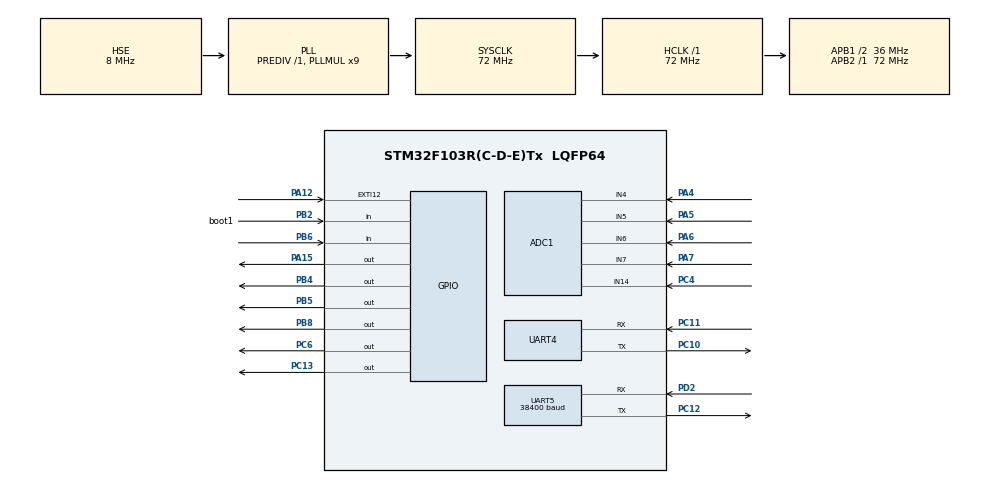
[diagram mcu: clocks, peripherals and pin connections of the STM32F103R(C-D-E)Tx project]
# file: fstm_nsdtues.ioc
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ADC1.Channel-0\#ChannelRegularConversion=ADC_CHANNEL_4
ADC1.Channel-2\#ChannelRegularConversion=ADC_CHANNEL_5
ADC1.Channel-3\#ChannelRegularConversion=ADC_CHANNEL_6
ADC1.Channel-4\#ChannelRegularConversion=ADC_CHANNEL_7
ADC1.Channel-5\#ChannelRegularConversion=ADC_CHANNEL_14
ADC1.Channel-6\#ChannelRegularConversion=ADC_CHANNEL_4
ADC1.ContinuousConvMode=ENABLE
ADC1.DataAlign=ADC_DATAALIGN_RIGHT
ADC1.DiscontinuousConvMode=DISABLE
ADC1.EnableAnalogWatchDog=false
ADC1.EnableRegularConversion=ENABLE
ADC1.ExternalTrigConvEdgeChoice=NONE
ADC1.InjNumberOfConversion=0
ADC1.NbrOfConversion=5
ADC1.NbrOfConversionFlag=1
ADC1.Rank-0\#ChannelRegularConversion=1
ADC1.Rank-2\#ChannelRegularConversion=2
ADC1.Rank-3\#ChannelRegularConversion=3
ADC1.Rank-4\#ChannelRegularConversion=4
ADC1.Rank-5\#ChannelRegularConversion=5
ADC1.Rank-6\#ChannelRegularConversion=1
ADC1.SamplingTime-0\#ChannelRegularConversion=ADC_SAMPLETIME_55CYCLES_5
ADC1.SamplingTime-2\#ChannelRegularConversion=ADC_SAMPLETIME_55CYCLES_5
ADC1.SamplingTime-3\#ChannelRegularConversion=ADC_SAMPLETIME_55CYCLES_5
ADC1.SamplingTime-4\#ChannelRegularConversion=ADC_SAMPLETIME_55CYCLES_5
ADC1.SamplingTime-5\#ChannelRegularConversion=ADC_SAMPLETIME_55CYCLES_5
ADC1.SamplingTime-6\#ChannelRegularConversion=ADC_SAMPLETIME_1CYCLE_5
ADC1.ScanConvMode=ADC_SCAN_ENABLE
ADC1.master=1
Dma.ADC1.0.Direction=DMA_PERIPH_TO_MEMORY
Dma.ADC1.0.Instance=DMA1_Channel1
Dma.ADC1.0.MemDataAlignment=DMA_MDATAALIGN_WORD
Dma.ADC1.0.MemInc=DMA_MINC_ENABLE
Dma.ADC1.0.Mode=DMA_CIRCULAR
Dma.ADC1.0.PeriphDataAlignment=DMA_PDATAALIGN_WORD
Dma.ADC1.0.PeriphInc=DMA_PINC_DISABLE
Dma.ADC1.0.Priority=DMA_PRIORITY_HIGH
Dma.Request0=ADC1
Mcu.Family=STM32F1
Mcu.Name=STM32F103R(C-D-E)Tx
Mcu.Package=LQFP64
NVIC.DMA1_Channel1_IRQn=true\:0\:0\:false\:false\:true
NVIC.EXTI15_10_IRQn=true\:0\:0\:false\:false\:true
NVIC.PriorityGroup=NVIC_PRIORITYGROUP_4
NVIC.TIM7_IRQn=true\:10\:0\:true\:false\:true
NVIC.UART4_IRQn=true\:0\:0\:false\:false\:true
NVIC.UART5_IRQn=true\:2\:0\:true\:false\:true
PA12.GPIO_ModeDefaultEXTI=GPIO_MODE_IT_RISING_FALLING
PA12.Signal=GPXTI12
PA13.Mode=Trace_Asynchronous_SW
PA13.Signal=SYS_JTMS-SWDIO
PA14.Mode=Trace_Asynchronous_SW
PA14.Signal=SYS_JTCK-SWCLK
PA15.Signal=GPIO_Output
PA4.Signal=ADCx_IN4
PA5.Signal=ADCx_IN5
PA6.Signal=ADCx_IN6
PA7.Signal=ADCx_IN7
PB2.GPIO_Label=boot1
PB2.Signal=GPIO_Input
PB3.Mode=Trace_Asynchronous_SW
PB3.Signal=SYS_JTDO-TRACESWO
PB4.Signal=GPIO_Output
PB5.Signal=GPIO_Output
PB6.Signal=GPIO_Input
PB8.Signal=GPIO_Output
PC10.Mode=Asynchronous
PC10.Signal=UART4_TX
PC11.Mode=Asynchronous
PC11.Signal=UART4_RX
PC12.Mode=Asynchronous
PC12.Signal=UART5_TX
PC13-TAMPER-RTC.Signal=GPIO_Output
PC4.Signal=ADCx_IN14
PC6.Signal=GPIO_Output
PD0-OSC_IN.Mode=HSE-External-Oscillator
PD0-OSC_IN.Signal=RCC_OSC_IN
PD1-OSC_OUT.Mode=HSE-External-Oscillator
PD1-OSC_OUT.Signal=RCC_OSC_OUT
PD2.Mode=Asynchronous
PD2.Signal=UART5_RX
ProjectManager.HeapSize=0x200
ProjectManager.StackSize=0x400
ProjectManager.TargetToolchain=MDK-ARM V5
RCC.ADCPresc=RCC_ADCPCLK2_DIV6
RCC.AHBFreq_Value=72000000
RCC.APB1CLKDivider=RCC_HCLK_DIV2
RCC.APB1Freq_Value=36000000
RCC.APB1TimFreq_Value=72000000
RCC.APB2Freq_Value=72000000
RCC.APB2TimFreq_Value=72000000
RCC.HCLKFreq_Value=72000000
RCC.PLLMUL=RCC_PLL_MUL9
RCC.PLLSourceVirtual=RCC_PLLSOURCE_HSE
RCC.SYSCLKFreq_VALUE=72000000
RCC.SYSCLKSource=RCC_SYSCLKSOURCE_PLLCLK
RCC.USBFreq_Value=72000000
SH.ADCx_IN14.0=ADC1_IN14,IN14
SH.ADCx_IN4.0=ADC1_IN4,IN4
SH.ADCx_IN5.0=ADC1_IN5,IN5
SH.ADCx_IN6.0=ADC1_IN6,IN6
SH.ADCx_IN7.0=ADC1_IN7,IN7
TIM2.Period=0xFFFF
TIM2.TIM_MasterSlaveMode=TIM_MASTERSLAVEMODE_ENABLE
TIM3.Period=0xFFFF
TIM3.Prescaler=71
TIM3.TIM_MasterOutputTrigger=TIM_TRGO_UPDATE
TIM7.Period=999
TIM7.Prescaler=71
TIM7.TIM_MasterOutputTrigger=TIM_TRGO_UPDATE
UART4.VirtualMode=Asynchronous
UART5.BaudRate=38400
UART5.VirtualMode=Asynchronous
VP_TIM2_VS_ClockSourceITR.Mode=TriggerSource_ITR2
VP_TIM2_VS_ControllerModeClock.Mode=Clock Mode
VP_TIM3_VS_ClockSourceITR.Mode=TriggerSource_ITR2
VP_TIM3_VS_ControllerModeReset.Mode=Reset Mode
VP_TIM7_VS_ClockSourceINT.Mode=Enable_Timer
board=fstm_nsdtues

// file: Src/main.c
/**
  ******************************************************************************
  * File Name          : main.c
  * Description        : Main program body
  ******************************************************************************
  *
  * COPYRIGHT(c) 2017 STMicroelectronics
  *
  * Redistribution and use in source and binary forms, with or without modification,
  * are permitted provided that the following conditions are met:
  *   1. Redistributions of source code must retain the above copyright notice,
  *      this list of conditions and the following disclaimer.
  *   2. Redistributions in binary form must reproduce the above copyright notice,
  *      this list of conditions and the following disclaimer in the documentation
  *      and/or other materials provided with the distribution.
  *   3. Neither the name of STMicroelectronics nor the names of its contributors
  *      may be used to endorse or promote products derived from this software
  *      without specific prior written permission.
  *
  * THIS SOFTWARE IS PROVIDED BY THE COPYRIGHT HOLDERS AND CONTRIBUTORS "AS IS"
  * AND ANY EXPRESS OR IMPLIED WARRANTIES, INCLUDING, BUT NOT LIMITED TO, THE
  * IMPLIED WARRANTIES OF MERCHANTABILITY AND FITNESS FOR A PARTICULAR PURPOSE ARE
  * DISCLAIMED. IN NO EVENT SHALL THE COPYRIGHT HOLDER OR CONTRIBUTORS BE LIABLE
  * FOR ANY DIRECT, INDIRECT, INCIDENTAL, SPECIAL, EXEMPLARY, OR CONSEQUENTIAL
  * DAMAGES (INCLUDING, BUT NOT LIMITED TO, PROCUREMENT OF SUBSTITUTE GOODS OR
  * SERVICES; LOSS OF USE, DATA, OR PROFITS; OR BUSINESS INTERRUPTION) HOWEVER
  * CAUSED AND ON ANY THEORY OF LIABILITY, WHETHER IN CONTRACT, STRICT LIABILITY,
  * OR TORT (INCLUDING NEGLIGENCE OR OTHERWISE) ARISING IN ANY WAY OUT OF THE USE
  * OF THIS SOFTWARE, EVEN IF ADVISED OF THE POSSIBILITY OF SUCH DAMAGE.
  *
  ******************************************************************************
  */
#include "stm32f1xx_hal.h"

/* USER CODE BEGIN Includes */
#include "cmsis_os.h" // ARM::CMSIS:RTOS:Keil RTX
#include <stdio.h>
#include <string.h>
#include <stdlib.h>
#include "uart-API.h"
#include "uart-line-IO.h"
#include "thread_of_LCM_uart.h"
#include "thread_of_hc05.h"
#include "thread_of_accelnet.h"
#include "HC05.h"

/* USER CODE END Includes */

ADC_HandleTypeDef hadc1;
DMA_HandleTypeDef hdma_adc1;

TIM_HandleTypeDef htim2;
TIM_HandleTypeDef htim3;
TIM_HandleTypeDef htim7;

UART_HandleTypeDef huart4;
UART_HandleTypeDef huart5;

/* USER CODE BEGIN PV */
/* Private variables ---------------------------------------------------------*/
//__IO float ADC_ConvertedValueLocal[5];
//uint32_t ADC_ConvertedValue[5];
uint32_t DMA_Transfer_Complete_Count=0;
extern uint32_t ADC_ConvertedValue[5];
/* USER CODE END PV */

void SystemClock_Config(void);
static void MX_GPIO_Init(void);
static void MX_DMA_Init(void);
static void MX_UART5_Init(void);
static void MX_TIM2_Init(void);
static void MX_TIM3_Init(void);
static void MX_TIM7_Init(void);
static void SystemClock_Config(void);
static void MX_ADC1_Init(void);
static void MX_UART4_Init(void);

/* USER CODE BEGIN PFP */

//osMailQDef(uart_recv_queue, 5, struct uart_recv_result_t);
//static osMailQId mail_queue_id_for_uart_recv;
/* Private function prototypes -----------------------------------------------*/

/* USER CODE END PFP */

/* USER CODE BEGIN 0 */
extern uint32_t os_time;
uint32_t HAL_GetTick(void) {
	// Add HAL_GetTick function for STM32Cube HAL

return os_time;
}
/* USER CODE END 0 */

int main(void)
{

  /* USER CODE BEGIN 1 */
	osKernelInitialize ();               // Initialize RTOS Kernel for setup
	InitUartIo();

  /* USER CODE END 1 */

  /* MCU Configuration----------------------------------------------------------*/

  /* Reset of all peripherals, Initializes the Flash interface and the Systick. */
  HAL_Init();

  /* Configure the system clock */
  SystemClock_Config();

  /* Initialize all configured peripherals */
  MX_GPIO_Init();
  MX_DMA_Init();
  MX_UART5_Init();
  MX_TIM2_Init();
  MX_TIM3_Init();
  MX_TIM7_Init();
  SystemClock_Config();
  MX_ADC1_Init();
  MX_UART4_Init();

  /* USER CODE BEGIN 2 */
//	init_thread_of_LCM_uart ();
	init_thread_of_hc05 ();
	init_thread_of_accelnet();
	init_thread_of_stopmode();
	osKernelStart ();                    // Begin thread switching
	//	HAL_GPIO_WritePin(GPIOB,GPIO_PIN_5,GPIO_PIN_RESET);
	//HAL_GPIO_WritePin(GPIOC,GPIO_PIN_1,GPIO_PIN_RESET);

	HAL_TIM_Base_Start(&htim2);
	HAL_TIM_Base_Start(&htim3);
	HAL_ADCEx_Calibration_Start(&hadc1);
	HAL_ADC_Start_DMA(&hadc1,ADC_ConvertedValue,5);
	HAL_TIM_Base_Start_IT(&htim7);
  /* USER CODE END 2 */

  /* Infinite loop */
  /* USER CODE BEGIN WHILE */

  while (1)
  {
		HAL_GPIO_WritePin(GPIOB,GPIO_PIN_8,GPIO_PIN_SET);
  /* USER CODE END WHILE */

  /* USER CODE BEGIN 3 */
//	ADC_ConvertedValueLocal[0] =(float)(ADC_ConvertedValue[0]&0xFFF)*3.3/4096; // ADC_ConvertedValue[0]只取最低12有效数据
//	ADC_ConvertedValueLocal[1] =(float)(ADC_ConvertedValue[1]&0xFFF)*3.3/4096; // ADC_ConvertedValue[1]只取最低12有效数据
//  ADC_ConvertedValueLocal[2] =(float)(ADC_ConvertedValue[2]&0xFFF)*3.3/4096; // ADC_ConvertedValue[2]只取最低12有效数据
//  ADC_ConvertedValueLocal[3] =(float)(ADC_ConvertedValue[3]&0xFFF)*3.3/4096; // ADC_ConvertedValue[3]只取最低12有效数据
//	ADC_ConvertedValueLocal[4] =(float)(ADC_ConvertedValue[4]&0xFFF)*3.3/4096; // ADC_ConvertedValue[4]只取最低12有效数据
		osDelay(1000);

//		HAL_GPIO_TogglePin(GPIOA,GPIO_PIN_15);
//		HAL_ADC_Start_DMA(&hadc1,ADC_ConvertedValue,5);
  }
  /* USER CODE END 3 */

}

/** System Clock Configuration
*/
void SystemClock_Config(void)
{

  RCC_OscInitTypeDef RCC_OscInitStruct;
  RCC_ClkInitTypeDef RCC_ClkInitStruct;
  RCC_PeriphCLKInitTypeDef PeriphClkInit;

  RCC_OscInitStruct.OscillatorType = RCC_OSCILLATORTYPE_HSE;
  RCC_OscInitStruct.HSEState = RCC_HSE_ON;
  RCC_OscInitStruct.HSEPredivValue = RCC_HSE_PREDIV_DIV1;
  RCC_OscInitStruct.HSIState = RCC_HSI_ON;
  RCC_OscInitStruct.PLL.PLLState = RCC_PLL_ON;
  RCC_OscInitStruct.PLL.PLLSource = RCC_PLLSOURCE_HSE;
  RCC_OscInitStruct.PLL.PLLMUL = RCC_PLL_MUL9;
  HAL_RCC_OscConfig(&RCC_OscInitStruct);

  RCC_ClkInitStruct.ClockType = RCC_CLOCKTYPE_HCLK|RCC_CLOCKTYPE_SYSCLK
                              |RCC_CLOCKTYPE_PCLK1|RCC_CLOCKTYPE_PCLK2;
  RCC_ClkInitStruct.SYSCLKSource = RCC_SYSCLKSOURCE_PLLCLK;
  RCC_ClkInitStruct.AHBCLKDivider = RCC_SYSCLK_DIV1;
  RCC_ClkInitStruct.APB1CLKDivider = RCC_HCLK_DIV2;
  RCC_ClkInitStruct.APB2CLKDivider = RCC_HCLK_DIV1;
  HAL_RCC_ClockConfig(&RCC_ClkInitStruct, FLASH_LATENCY_2);

  PeriphClkInit.PeriphClockSelection = RCC_PERIPHCLK_ADC;
  PeriphClkInit.AdcClockSelection = RCC_ADCPCLK2_DIV6;
  HAL_RCCEx_PeriphCLKConfig(&PeriphClkInit);

  HAL_SYSTICK_Config(HAL_RCC_GetHCLKFreq()/1000);

  HAL_SYSTICK_CLKSourceConfig(SYSTICK_CLKSOURCE_HCLK);

  /* SysTick_IRQn interrupt configuration */
  HAL_NVIC_SetPriority(SysTick_IRQn, 0, 0);
}

/* ADC1 init function */
void MX_ADC1_Init(void)
{

  ADC_ChannelConfTypeDef sConfig;

    /**Common config
    */
  hadc1.Instance = ADC1;
  hadc1.Init.ScanConvMode = ADC_SCAN_ENABLE;
  hadc1.Init.ContinuousConvMode = ENABLE;
  hadc1.Init.DiscontinuousConvMode = DISABLE;
  hadc1.Init.ExternalTrigConv = ADC_SOFTWARE_START;
  hadc1.Init.DataAlign = ADC_DATAALIGN_RIGHT;
  hadc1.Init.NbrOfConversion = 5;
  HAL_ADC_Init(&hadc1);

    /**Configure Regular Channel
    */
  sConfig.Channel = ADC_CHANNEL_4;
  sConfig.Rank = 1;
  sConfig.SamplingTime = ADC_SAMPLETIME_1CYCLE_5;
  HAL_ADC_ConfigChannel(&hadc1, &sConfig);

    /**Configure Regular Channel
    */
  sConfig.SamplingTime = ADC_SAMPLETIME_55CYCLES_5;
  HAL_ADC_ConfigChannel(&hadc1, &sConfig);

    /**Configure Regular Channel
    */
  sConfig.Channel = ADC_CHANNEL_5;
  sConfig.Rank = 2;
  HAL_ADC_ConfigChannel(&hadc1, &sConfig);

    /**Configure Regular Channel
    */
  sConfig.Channel = ADC_CHANNEL_6;
  sConfig.Rank = 3;
  HAL_ADC_ConfigChannel(&hadc1, &sConfig);

    /**Configure Regular Channel
    */
  sConfig.Channel = ADC_CHANNEL_7;
  sConfig.Rank = 4;
  HAL_ADC_ConfigChannel(&hadc1, &sConfig);

    /**Configure Regular Channel
    */
  sConfig.Channel = ADC_CHANNEL_14;
  sConfig.Rank = 5;
  HAL_ADC_ConfigChannel(&hadc1, &sConfig);

}

/* TIM2 init function */
void MX_TIM2_Init(void)
{

  TIM_SlaveConfigTypeDef sSlaveConfig;
  TIM_MasterConfigTypeDef sMasterConfig;

  htim2.Instance = TIM2;
  htim2.Init.Prescaler = 0;
  htim2.Init.CounterMode = TIM_COUNTERMODE_UP;
  htim2.Init.Period = 0xFFFF;
  htim2.Init.ClockDivision = TIM_CLOCKDIVISION_DIV1;
  HAL_TIM_Base_Init(&htim2);

  sSlaveConfig.SlaveMode = TIM_SLAVEMODE_EXTERNAL1;
  sSlaveConfig.InputTrigger = TIM_TS_ITR2;
  HAL_TIM_SlaveConfigSynchronization(&htim2, &sSlaveConfig);

  sMasterConfig.MasterOutputTrigger = TIM_TRGO_RESET;
  sMasterConfig.MasterSlaveMode = TIM_MASTERSLAVEMODE_ENABLE;
  HAL_TIMEx_MasterConfigSynchronization(&htim2, &sMasterConfig);

}

/* TIM3 init function */
void MX_TIM3_Init(void)
{

  TIM_SlaveConfigTypeDef sSlaveConfig;
  TIM_MasterConfigTypeDef sMasterConfig;

  htim3.Instance = TIM3;
  htim3.Init.Prescaler = 71;
  htim3.Init.CounterMode = TIM_COUNTERMODE_UP;
  htim3.Init.Period = 0xFFFF;
  htim3.Init.ClockDivision = TIM_CLOCKDIVISION_DIV1;
  HAL_TIM_Base_Init(&htim3);

  sSlaveConfig.SlaveMode = TIM_SLAVEMODE_RESET;
  sSlaveConfig.InputTrigger = TIM_TS_ITR2;
  HAL_TIM_SlaveConfigSynchronization(&htim3, &sSlaveConfig);

  sMasterConfig.MasterOutputTrigger = TIM_TRGO_UPDATE;
  sMasterConfig.MasterSlaveMode = TIM_MASTERSLAVEMODE_DISABLE;
  HAL_TIMEx_MasterConfigSynchronization(&htim3, &sMasterConfig);

}

/* TIM7 init function */
void MX_TIM7_Init(void)
{

  TIM_MasterConfigTypeDef sMasterConfig;

  htim7.Instance = TIM7;
  htim7.Init.Prescaler = 71;
  htim7.Init.CounterMode = TIM_COUNTERMODE_UP;
  htim7.Init.Period = 999;
  HAL_TIM_Base_Init(&htim7);

  sMasterConfig.MasterOutputTrigger = TIM_TRGO_UPDATE;
  sMasterConfig.MasterSlaveMode = TIM_MASTERSLAVEMODE_DISABLE;
  HAL_TIMEx_MasterConfigSynchronization(&htim7, &sMasterConfig);

}

/* UART4 init function */
void MX_UART4_Init(void)
{

  huart4.Instance = UART4;
  huart4.Init.BaudRate = 38400;
  huart4.Init.WordLength = UART_WORDLENGTH_8B;
  huart4.Init.StopBits = UART_STOPBITS_1;
  huart4.Init.Parity = UART_PARITY_NONE;
  huart4.Init.Mode = UART_MODE_TX_RX;
  huart4.Init.HwFlowCtl = UART_HWCONTROL_NONE;
  huart4.Init.OverSampling = UART_OVERSAMPLING_16;
  HAL_UART_Init(&huart4);

}

/* UART5 init function */
void MX_UART5_Init(void)
{

  huart5.Instance = UART5;
  huart5.Init.BaudRate = 38400;
  huart5.Init.WordLength = UART_WORDLENGTH_8B;
  huart5.Init.StopBits = UART_STOPBITS_1;
  huart5.Init.Parity = UART_PARITY_NONE;
  huart5.Init.Mode = UART_MODE_TX_RX;
  huart5.Init.HwFlowCtl = UART_HWCONTROL_NONE;
  huart5.Init.OverSampling = UART_OVERSAMPLING_16;
  HAL_UART_Init(&huart5);

}

void MX_DMA_Init(void)
{
  /* DMA controller clock enable */
  __HAL_RCC_DMA1_CLK_ENABLE();

  /* DMA interrupt init */
  /* DMA1_Channel1_IRQn interrupt configuration */
  HAL_NVIC_SetPriority(DMA1_Channel1_IRQn, 0, 0);
  HAL_NVIC_EnableIRQ(DMA1_Channel1_IRQn);

}

/** Configure pins as
        * Analog
        * Input
        * Output
        * EVENT_OUT
        * EXTI
*/
void MX_GPIO_Init(void)
{

  GPIO_InitTypeDef GPIO_InitStruct;

  /* GPIO Ports Clock Enable */
  __HAL_RCC_GPIOC_CLK_ENABLE();
  __HAL_RCC_GPIOD_CLK_ENABLE();
  __HAL_RCC_GPIOA_CLK_ENABLE();
  __HAL_RCC_GPIOB_CLK_ENABLE();

  /*Configure GPIO pin Output Level */
  HAL_GPIO_WritePin(GPIOC, GPIO_PIN_13|GPIO_PIN_6, GPIO_PIN_RESET);

  /*Configure GPIO pin Output Level */
  HAL_GPIO_WritePin(GPIOA, GPIO_PIN_15, GPIO_PIN_RESET);

  /*Configure GPIO pin Output Level */
  HAL_GPIO_WritePin(GPIOB, GPIO_PIN_4|GPIO_PIN_5|GPIO_PIN_8, GPIO_PIN_RESET);

  /*Configure GPIO pins : PC13 PC6 */
  GPIO_InitStruct.Pin = GPIO_PIN_13|GPIO_PIN_6;
  GPIO_InitStruct.Mode = GPIO_MODE_OUTPUT_PP;
  GPIO_InitStruct.Speed = GPIO_SPEED_FREQ_LOW;
  HAL_GPIO_Init(GPIOC, &GPIO_InitStruct);

  /*Configure GPIO pins : boot1_Pin PB6 */
  GPIO_InitStruct.Pin = boot1_Pin|GPIO_PIN_6;
  GPIO_InitStruct.Mode = GPIO_MODE_INPUT;
  GPIO_InitStruct.Pull = GPIO_NOPULL;
  HAL_GPIO_Init(GPIOB, &GPIO_InitStruct);

  /*Configure GPIO pin : PA12 */
  GPIO_InitStruct.Pin = GPIO_PIN_12;
  GPIO_InitStruct.Mode = GPIO_MODE_IT_RISING_FALLING;
  GPIO_InitStruct.Pull = GPIO_NOPULL;
  HAL_GPIO_Init(GPIOA, &GPIO_InitStruct);

  /*Configure GPIO pin : PA15 */
  GPIO_InitStruct.Pin = GPIO_PIN_15;
  GPIO_InitStruct.Mode = GPIO_MODE_OUTPUT_PP;
  GPIO_InitStruct.Speed = GPIO_SPEED_FREQ_LOW;
  HAL_GPIO_Init(GPIOA, &GPIO_InitStruct);

  /*Configure GPIO pins : PB4 PB5 PB8 */
  GPIO_InitStruct.Pin = GPIO_PIN_4|GPIO_PIN_5|GPIO_PIN_8;
  GPIO_InitStruct.Mode = GPIO_MODE_OUTPUT_PP;
  GPIO_InitStruct.Speed = GPIO_SPEED_FREQ_LOW;
  HAL_GPIO_Init(GPIOB, &GPIO_InitStruct);

  /* EXTI interrupt init*/
  HAL_NVIC_SetPriority(EXTI15_10_IRQn, 0, 0);
  HAL_NVIC_EnableIRQ(EXTI15_10_IRQn);

}

/* USER CODE BEGIN 4 */

static int cnt ;
uint32_t adc_raw[64];
void HAL_ADC_ConvCpltCallback(ADC_HandleTypeDef* hadc)
{

cnt++;
}

///**
//  * 函数功能: 重定向c库函数printf到DEBUG_USARTx
//  * 输入参数: 无
//  * 返 回 值: 无
//  * 说    明：无
//  */
//int fputc(int ch, FILE *f)
//{
//  HAL_UART_Transmit(&huart1, (uint8_t *)&ch, 1, 0xffff);
////	SendDataToUart(4,(uint8_t *)&ch,1,0xffff);
//  return ch;
//}

///**
//  * 函数功能: 重定向c库函数getchar,scanf到DEBUG_USARTx
//  * 输入参数: 无
//  * 返 回 值: 无
//  * 说    明：无
//  */
//int fgetc(FILE * f)
//{
//  uint8_t ch = 0;
//  HAL_UART_Receive(&huart1,&ch, 1, 0xffff);
//  return ch;
//}

/* USER CODE END 4 */

/************************ (C) COPYRIGHT STMicroelectronics *****END OF FILE****/
